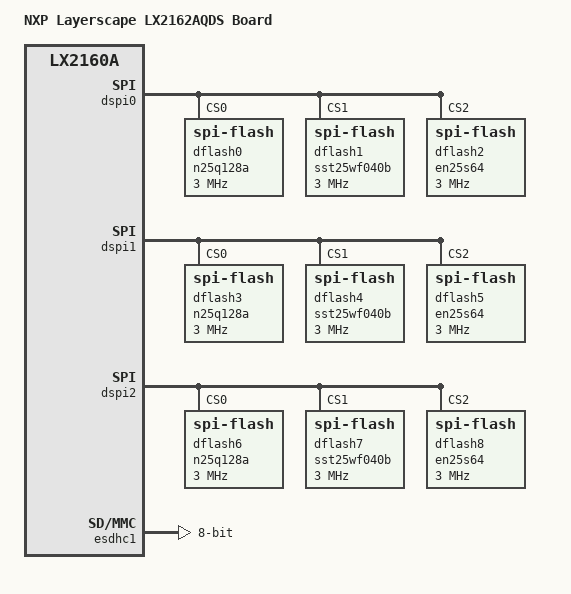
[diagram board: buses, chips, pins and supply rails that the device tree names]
// SPDX-License-Identifier: GPL-2.0+ OR X11
/*
 * NXP LX2162AQDS device tree source
 *
 * Copyright 2020-2021 NXP
 *
 */

/dts-v1/;

#include "fsl-lx2160a-qds.dtsi"

/ {
	model = "NXP Layerscape LX2162AQDS Board";
	compatible = "fsl,lx2162aqds", "fsl,lx2160a";

	aliases {
		spi1 = &dspi0;
		spi2 = &dspi1;
		spi3 = &dspi2;
	};
};

&usb1 {
	status = "disabled";
};

&pcie2 {
	status = "disabled";
};

&pcie5 {
	status = "disabled";
};

&pcie6 {
	status = "disabled";
};

&dspi0 {
	bus-num = <0>;
	status = "okay";

	dflash0: n25q128a {
		#address-cells = <1>;
		#size-cells = <1>;
		compatible = "spi-flash";
		spi-max-frequency = <3000000>;
		spi-cpol;
		spi-cpha;
		reg = <0>;
	};
	dflash1: sst25wf040b {
		#address-cells = <1>;
		#size-cells = <1>;
		compatible = "spi-flash";
		spi-max-frequency = <3000000>;
		spi-cpol;
		spi-cpha;
		reg = <1>;
	};
	dflash2: en25s64 {
		#address-cells = <1>;
		#size-cells = <1>;
		compatible = "spi-flash";
		spi-max-frequency = <3000000>;
		spi-cpol;
		spi-cpha;
		reg = <2>;
	};
};

&dspi1 {
	bus-num = <0>;
	status = "okay";

	dflash3: n25q128a {
		#address-cells = <1>;
		#size-cells = <1>;
		compatible = "spi-flash";
		spi-max-frequency = <3000000>;
		spi-cpol;
		spi-cpha;
		reg = <0>;
	};
	dflash4: sst25wf040b {
		#address-cells = <1>;
		#size-cells = <1>;
		compatible = "spi-flash";
		spi-max-frequency = <3000000>;
		spi-cpol;
		spi-cpha;
		reg = <1>;
	};
	dflash5: en25s64 {
		#address-cells = <1>;
		#size-cells = <1>;
		compatible = "spi-flash";
		spi-max-frequency = <3000000>;
		spi-cpol;
		spi-cpha;
		reg = <2>;
	};
};

&dspi2 {
	bus-num = <0>;
	status = "okay";

	dflash6: n25q128a {
		#address-cells = <1>;
		#size-cells = <1>;
		compatible = "spi-flash";
		spi-max-frequency = <3000000>;
		spi-cpol;
		spi-cpha;
		reg = <0>;
	};
	dflash7: sst25wf040b {
		#address-cells = <1>;
		#size-cells = <1>;
		compatible = "spi-flash";
		spi-max-frequency = <3000000>;
		spi-cpol;
		spi-cpha;
		reg = <1>;
	};
	dflash8: en25s64 {
		#address-cells = <1>;
		#size-cells = <1>;
		compatible = "spi-flash";
		spi-max-frequency = <3000000>;
		spi-cpol;
		spi-cpha;
		reg = <2>;
	};
};

&esdhc1 {
	mmc-hs200-1_8v;
	mmc-hs400-1_8v;
	bus-width = <8>;
};
